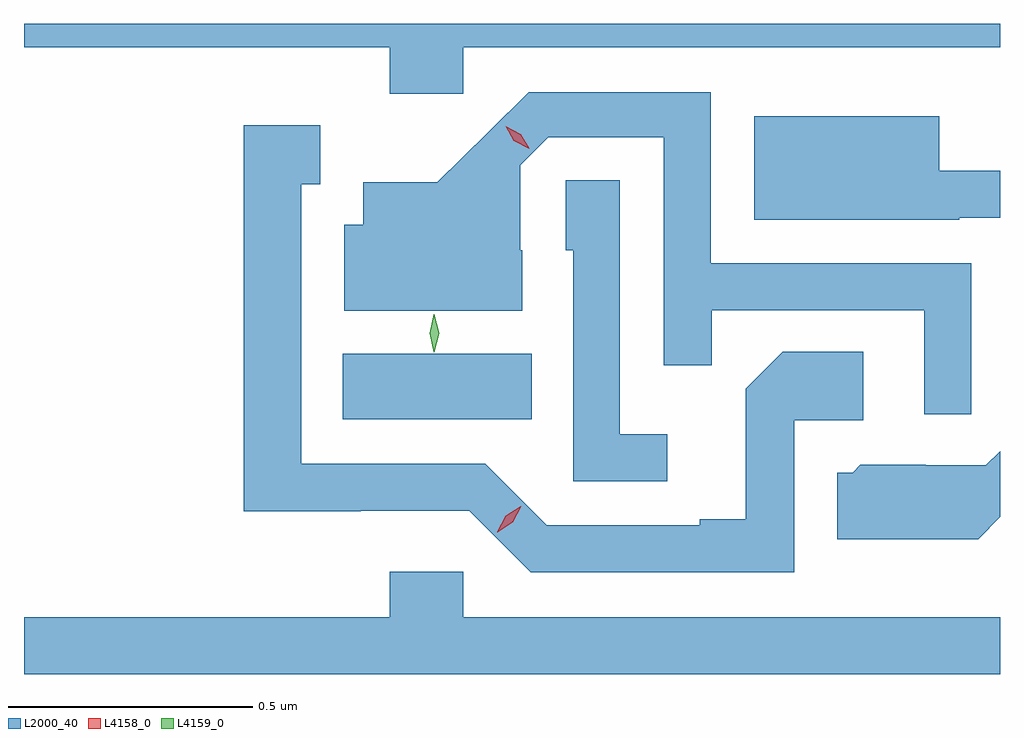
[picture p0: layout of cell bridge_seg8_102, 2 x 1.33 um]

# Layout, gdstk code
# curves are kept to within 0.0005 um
import gdstk
lib = gdstk.Library(unit=1e-6, precision=1e-09)
def R(c, l, rs):  # rectangles x0, y0, x1, y1
    for r in rs: c.add(gdstk.rectangle(r[:2], r[2:], *l))
def P(c, l, *ps):  # polygons
    for p in ps: c.add(gdstk.Polygon(p, *l))
L2000_40 = (2000, 40)
L4158_0 = (4158, 0)
L4159_0 = (4159, 0)

bridge_seg8_102 = lib.new_cell('bridge_seg8_102')
R(bridge_seg8_102, L2000_40, [(641.309,1163.69,641.696,1163.824)])
P(bridge_seg8_102, L2000_40, [(641.556,1164.452),(642.656,1164.452),(642.656,1164.5),(640.656,1164.5),(640.656,1164.452),(641.405,1164.452),(641.405,1164.357),(641.556,1164.357)],
  [(642.597,1164.009),(642.063,1164.009),(642.063,1164.36),(641.69,1164.36),(641.503,1164.175),(641.351,1164.175),(641.351,1164.088),(641.312,1164.088),(641.312,1163.912),(641.677,1163.912),(641.677,1164.036),(641.673,1164.036),(641.673,1164.21),(641.73,1164.267),(641.967,1164.267),(641.967,1163.8),(642.065,1163.8),(642.065,1163.913),(642.501,1163.913),(642.501,1163.7),(642.597,1163.7)],
  [(642.572,1164.102),(642.656,1164.102),(642.656,1164.199),(642.532,1164.199),(642.532,1164.31),(642.152,1164.31),(642.152,1164.098),(642.572,1164.098)],
  [(642.234,1163.688),(642.376,1163.688),(642.376,1163.828),(642.211,1163.828),(642.135,1163.752),(642.135,1163.485),(642.041,1163.485),(642.041,1163.472),(641.727,1163.472),(641.601,1163.598),(641.224,1163.598),(641.224,1164.171),(641.263,1164.171),(641.263,1164.292),(641.106,1164.292),(641.106,1163.501),(641.346,1163.501),(641.346,1163.502),(641.568,1163.502),(641.694,1163.376),(642.234,1163.376)],
  [(641.974,1163.659),(641.877,1163.659),(641.877,1164.179),(641.766,1164.179),(641.766,1164.036),(641.781,1164.036),(641.781,1163.562),(641.974,1163.562)],
  [(642.656,1163.49),(642.656,1163.624),(642.627,1163.595),(642.504,1163.595),(642.504,1163.596),(642.37,1163.596),(642.354,1163.58),(642.323,1163.58),(642.323,1163.444),(642.611,1163.444)],
  [(641.556,1163.377),(641.405,1163.377),(641.405,1163.284),(640.656,1163.284),(640.656,1163.167),(642.656,1163.167),(642.656,1163.284),(641.556,1163.284)])
P(bridge_seg8_102, L4158_0, [(641.691,1164.244),(641.66,1164.26),(641.643,1164.29),(641.643,1164.29),(641.643,1164.29),(641.674,1164.274),(641.691,1164.245),(641.691,1164.244)],
  [(641.626,1163.458),(641.626,1163.459),(641.643,1163.492),(641.674,1163.511),(641.675,1163.511),(641.675,1163.511),(641.658,1163.478),(641.627,1163.458)])
P(bridge_seg8_102, L4159_0, [(641.496,1163.827),(641.487,1163.866),(641.496,1163.905),(641.496,1163.905),(641.497,1163.905),(641.507,1163.866),(641.497,1163.827),(641.497,1163.827)])

lib.write_gds('bridge_seg8_102.gds')
